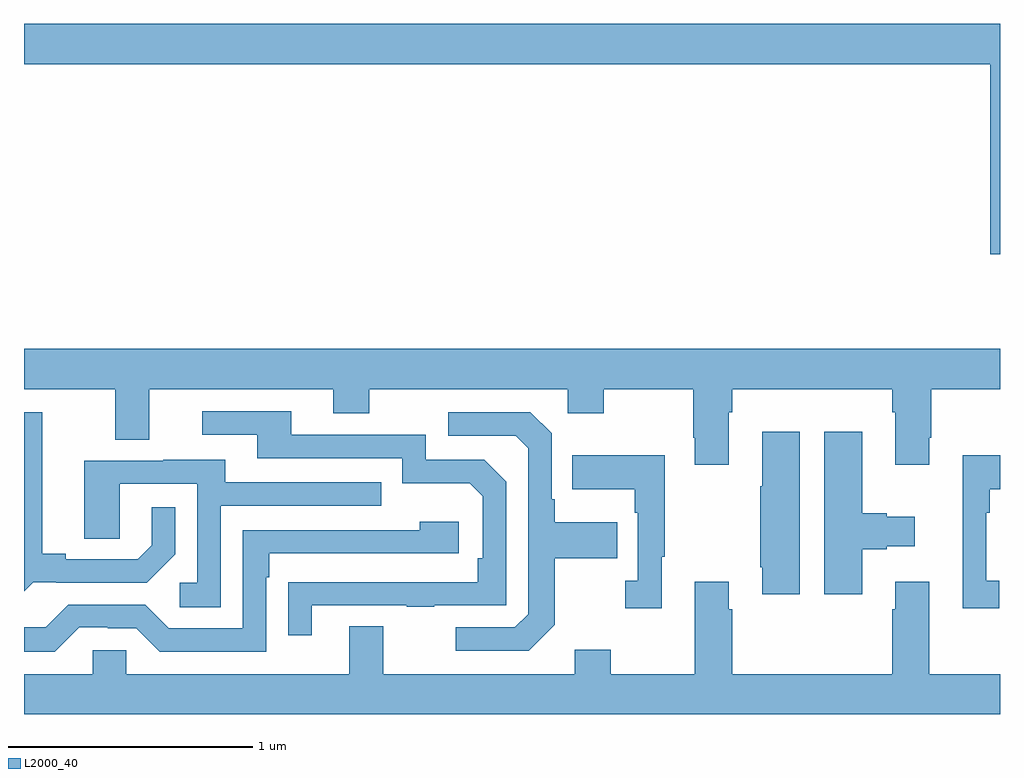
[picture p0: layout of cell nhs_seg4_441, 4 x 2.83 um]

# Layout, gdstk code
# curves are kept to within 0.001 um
import gdstk
lib = gdstk.Library(unit=1e-6, precision=1e-09)
def P(c, l, *ps):  # polygons
    for p in ps: c.add(gdstk.Polygon(p, *l))
L2000_40 = (2000, 40)

nhs_seg4_441 = lib.new_cell('nhs_seg4_441')
P(nhs_seg4_441, L2000_40, [(137,770.344),(133,770.344),(133,770.18),(136.961,770.18),(136.961,769.401),(137,769.401)],
  [(135.889,768.752),(135.902,768.752),(135.902,768.848),(136.559,768.848),(136.559,768.752),(136.571,768.752),(136.571,768.537),(136.711,768.537),(136.711,768.649),(136.719,768.649),(136.719,768.848),(137,768.848),(137,769.012),(133,769.012),(133,768.848),(133.373,768.848),(133.373,768.64),(133.513,768.64),(133.513,768.848),(134.267,768.848),(134.267,768.749),(134.415,768.749),(134.415,768.848),(135.228,768.848),(135.228,768.749),(135.375,768.749),(135.375,768.848),(135.742,768.848),(135.742,768.649),(135.749,768.649),(135.749,768.537),(135.889,768.537)],
  [(134.179,767.961),(134.569,767.961),(134.569,767.956),(134.681,767.956),(134.681,767.961),(134.976,767.961),(134.976,768.468),(134.886,768.558),(134.646,768.558),(134.646,768.66),(134.095,768.66),(134.095,768.756),(133.731,768.756),(133.731,768.66),(133.955,768.66),(133.955,768.564),(134.55,768.564),(134.55,768.461),(134.827,768.461),(134.88,768.408),(134.88,768.154),(134.86,768.154),(134.86,768.057),(134.083,768.056),(134.083,767.838),(134.179,767.838)],
  [(133.038,768.057),(133.132,768.057),(133.132,768.054),(133.504,768.054),(133.62,768.17),(133.62,768.364),(133.523,768.364),(133.523,768.207),(133.466,768.15),(133.171,768.15),(133.171,768.173),(133.075,768.173),(133.075,768.753),(133,768.753),(133,768.019)],
  [(135.175,767.881),(135.175,768.154),(135.431,768.154),(135.431,768.301),(135.175,768.301),(135.175,768.397),(135.162,768.397),(135.162,768.666),(135.075,768.753),(134.739,768.753),(134.739,768.657),(135.015,768.657),(135.066,768.606),(135.066,767.925),(135.012,767.871),(134.769,767.871),(134.769,767.775),(135.069,767.775)],
  [(136.435,768.191),(136.535,768.191),(136.535,768.203),(136.651,768.203),(136.651,768.325),(136.535,768.325),(136.535,768.338),(136.435,768.338),(136.435,768.673),(136.28,768.673),(136.28,768.006),(136.435,768.006)],
  [(136.18,768.673),(136.025,768.673),(136.025,768.449),(136.018,768.449),(136.018,768.118),(136.025,768.118),(136.025,768.006),(136.18,768.006)],
  [(135.613,768.161),(135.625,768.161),(135.625,768.577),(135.247,768.577),(135.247,768.437),(135.504,768.437),(135.504,768.341),(135.516,768.341),(135.516,768.062),(135.465,768.062),(135.465,767.949),(135.613,767.949)],
  [(136.996,768.062),(136.944,768.062),(136.944,768.341),(136.957,768.341),(136.957,768.437),(137,768.437),(137,768.577),(136.847,768.577),(136.847,767.949),(136.996,767.949)],
  [(133.806,768.369),(134.465,768.369),(134.465,768.465),(133.825,768.465),(133.825,768.559),(133.571,768.559),(133.571,768.555),(133.247,768.555),(133.247,768.235),(133.392,768.235),(133.392,768.459),(133.71,768.459),(133.71,768.054),(133.638,768.054),(133.638,767.953),(133.806,767.953)],
  [(133.227,767.871),(133.343,767.871),(133.343,767.868),(133.461,767.868),(133.557,767.772),(133.992,767.772),(133.992,768.077),(134.005,768.077),(134.005,768.174),(134.782,768.174),(134.782,768.304),(134.621,768.304),(134.621,768.27),(133.896,768.27),(133.896,767.868),(133.593,767.868),(133.497,767.964),(133.182,767.964),(133.089,767.871),(133,767.871),(133,767.771),(133.127,767.771)],
  [(137,767.68),(136.711,767.68),(136.711,768.058),(136.571,768.058),(136.571,767.945),(136.559,767.945),(136.559,767.68),(135.902,767.68),(135.902,767.945),(135.889,767.945),(135.889,768.058),(135.749,768.058),(135.749,767.68),(135.405,767.68),(135.405,767.779),(135.257,767.779),(135.257,767.68),(134.473,767.68),(134.473,767.875),(134.333,767.875),(134.333,767.68),(133.419,767.68),(133.419,767.778),(133.281,767.778),(133.281,767.68),(133,767.68),(133,767.516),(137,767.516)])

lib.write_gds('nhs_seg4_441.gds')
